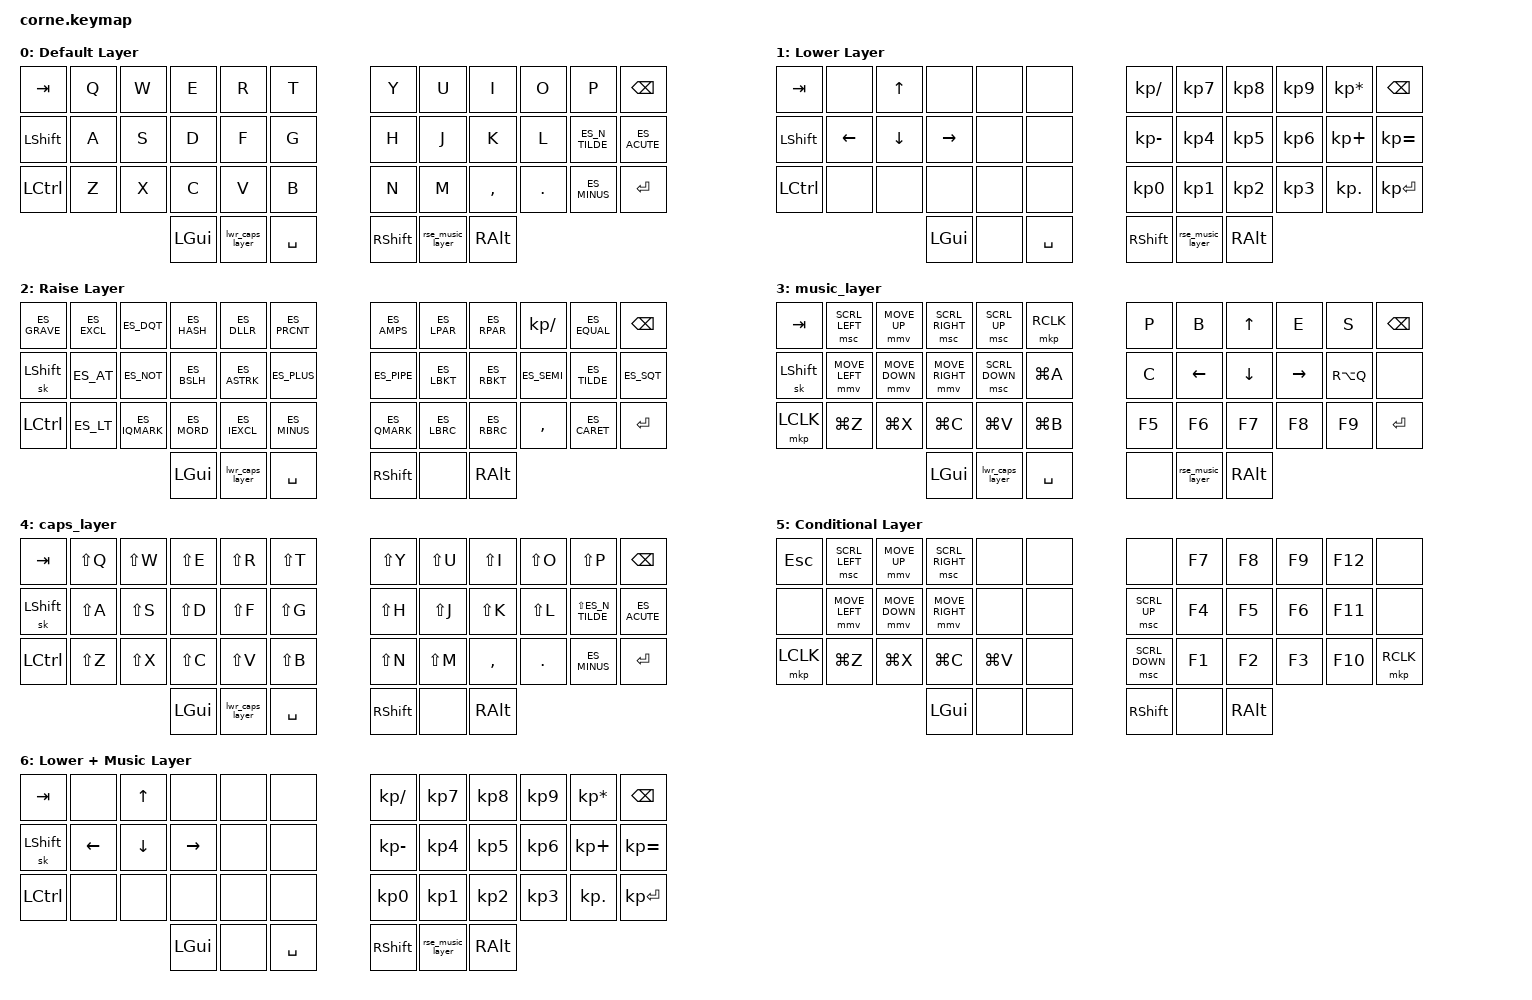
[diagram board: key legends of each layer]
/*
 * Copyright (c) 2020 The ZMK Contributors
 *
 * SPDX-License-Identifier: MIT
 */

#include <behaviors.dtsi>
#include <dt-bindings/zmk/bt.h>
#include <dt-bindings/zmk/keys.h>
#include <dt-bindings/zmk/rgb.h>
#include <dt-bindings/zmk/hid_usage.h>
#include <dt-bindings/zmk/hid_usage_pages.h>
#include <dt-bindings/zmk/modifiers.h>
#define ZMK_POINTING_DEFAULT_MOVE_VAL 1200
#define ZMK_POINTING_DEFAULT_SCRL_VAL 20
#include <dt-bindings/zmk/pointing.h>

/*
 * Localized Keys for Spanish
 *
 * This file was generated from data with the following license:
 *
 * UNICODE, INC. LICENSE AGREEMENT - DATA FILES AND SOFTWARE
 *
 * See Terms of Use <https://www.unicode.org/copyright.html>
 * for definitions of Unicode Inc.'s Data Files and Software.
 *
 * NOTICE TO USER: Carefully read the following legal agreement.
 * BY DOWNLOADING, INSTALLING, COPYING OR OTHERWISE USING UNICODE INC.'S
 * DATA FILES ("DATA FILES"), AND/OR SOFTWARE ("SOFTWARE"),
 * YOU UNEQUIVOCALLY ACCEPT, AND AGREE TO BE BOUND BY, ALL OF THE
 * TERMS AND CONDITIONS OF THIS AGREEMENT.
 * IF YOU DO NOT AGREE, DO NOT DOWNLOAD, INSTALL, COPY, DISTRIBUTE OR USE
 * THE DATA FILES OR SOFTWARE.
 *
 * COPYRIGHT AND PERMISSION NOTICE
 *
 * Copyright (c) 1991-2023 Unicode, Inc. All rights reserved.
 * Distributed under the Terms of Use in https://www.unicode.org/copyright.html.
 *
 * Permission is hereby granted, free of charge, to any person obtaining
 * a copy of the Unicode data files and any associated documentation
 * (the "Data Files") or Unicode software and any associated documentation
 * (the "Software") to deal in the Data Files or Software
 * without restriction, including without limitation the rights to use,
 * copy, modify, merge, publish, distribute, and/or sell copies of
 * the Data Files or Software, and to permit persons to whom the Data Files
 * or Software are furnished to do so, provided that either
 * (a) this copyright and permission notice appear with all copies
 * of the Data Files or Software, or
 * (b) this copyright and permission notice appear in associated
 * Documentation.
 *
 * THE DATA FILES AND SOFTWARE ARE PROVIDED "AS IS", WITHOUT WARRANTY OF
 * ANY KIND, EXPRESS OR IMPLIED, INCLUDING BUT NOT LIMITED TO THE
 * WARRANTIES OF MERCHANTABILITY, FITNESS FOR A PARTICULAR PURPOSE AND
 * NONINFRINGEMENT OF THIRD PARTY RIGHTS.
 * IN NO EVENT SHALL THE COPYRIGHT HOLDER OR HOLDERS INCLUDED IN THIS
 * NOTICE BE LIABLE FOR ANY CLAIM, OR ANY SPECIAL INDIRECT OR CONSEQUENTIAL
 * DAMAGES, OR ANY DAMAGES WHATSOEVER RESULTING FROM LOSS OF USE,
 * DATA OR PROFITS, WHETHER IN AN ACTION OF CONTRACT, NEGLIGENCE OR OTHER
 * TORTIOUS ACTION, ARISING OUT OF OR IN CONNECTION WITH THE USE OR
 * PERFORMANCE OF THE DATA FILES OR SOFTWARE.
 *
 * Except as contained in this notice, the name of a copyright holder
 * shall not be used in advertising or otherwise to promote the sale,
 * use or other dealings in these Data Files or Software without prior
 * written authorization of the copyright holder.
 */

#define ES_ESCAPE_CHARACTER (LC(ZMK_HID_USAGE(HID_USAGE_KEY, HID_USAGE_KEY_KEYBOARD_LEFT_BRACKET_AND_LEFT_BRACE)))

#define ES_FILE_SEPARATOR (LC(ZMK_HID_USAGE(HID_USAGE_KEY, HID_USAGE_KEY_KEYBOARD_BACKSLASH_AND_PIPE)))

#define ES_GROUP_SEPARATOR (LC(ZMK_HID_USAGE(HID_USAGE_KEY, HID_USAGE_KEY_KEYBOARD_RIGHT_BRACKET_AND_RIGHT_BRACE)))

#define ES_SPACE (ZMK_HID_USAGE(HID_USAGE_KEY, HID_USAGE_KEY_KEYBOARD_SPACEBAR))

/* ! */
#define ES_EXCLAMATION (LS(ZMK_HID_USAGE(HID_USAGE_KEY, HID_USAGE_KEY_KEYBOARD_1_AND_EXCLAMATION)))
#define ES_EXCL (ES_EXCLAMATION)

/* " */
#define ES_DOUBLE_QUOTES (LS(ZMK_HID_USAGE(HID_USAGE_KEY, HID_USAGE_KEY_KEYBOARD_2_AND_AT)))
#define ES_DQT (ES_DOUBLE_QUOTES)

/* # */
#define ES_HASH (RA(ZMK_HID_USAGE(HID_USAGE_KEY, HID_USAGE_KEY_KEYBOARD_3_AND_HASH)))
#define ES_POUND (ES_HASH)

/* $ */
#define ES_DOLLAR (LS(ZMK_HID_USAGE(HID_USAGE_KEY, HID_USAGE_KEY_KEYBOARD_4_AND_DOLLAR)))
#define ES_DLLR (ES_DOLLAR)

/* % */
#define ES_PERCENT (LS(ZMK_HID_USAGE(HID_USAGE_KEY, HID_USAGE_KEY_KEYBOARD_5_AND_PERCENT)))
#define ES_PRCNT (ES_PERCENT)

/* & */
#define ES_AMPERSAND (LS(ZMK_HID_USAGE(HID_USAGE_KEY, HID_USAGE_KEY_KEYBOARD_6_AND_CARET)))
#define ES_AMPS (ES_AMPERSAND)

/* ' */
#define ES_SINGLE_QUOTE (ZMK_HID_USAGE(HID_USAGE_KEY, HID_USAGE_KEY_KEYBOARD_MINUS_AND_UNDERSCORE))
#define ES_SQT (ES_SINGLE_QUOTE)
#define ES_APOSTROPHE (ES_SINGLE_QUOTE)
#define ES_APOS (ES_SINGLE_QUOTE)

/* ( */
#define ES_LEFT_PARENTHESIS (LS(ZMK_HID_USAGE(HID_USAGE_KEY, HID_USAGE_KEY_KEYBOARD_8_AND_ASTERISK)))
#define ES_LPAR (ES_LEFT_PARENTHESIS)

/* ) */
#define ES_RIGHT_PARENTHESIS (LS(ZMK_HID_USAGE(HID_USAGE_KEY, HID_USAGE_KEY_KEYBOARD_9_AND_LEFT_PARENTHESIS)))
#define ES_RPAR (ES_RIGHT_PARENTHESIS)

/* * */
#define ES_ASTERISK (LS(ZMK_HID_USAGE(HID_USAGE_KEY, HID_USAGE_KEY_KEYBOARD_RIGHT_BRACKET_AND_RIGHT_BRACE)))
#define ES_ASTRK (ES_ASTERISK)
#define ES_STAR (ES_ASTERISK)

/* + */
#define ES_PLUS (ZMK_HID_USAGE(HID_USAGE_KEY, HID_USAGE_KEY_KEYBOARD_RIGHT_BRACKET_AND_RIGHT_BRACE))

/* , */
#define ES_COMMA (ZMK_HID_USAGE(HID_USAGE_KEY, HID_USAGE_KEY_KEYBOARD_COMMA_AND_LESS_THAN))

/* - */
#define ES_MINUS (ZMK_HID_USAGE(HID_USAGE_KEY, HID_USAGE_KEY_KEYBOARD_SLASH_AND_QUESTION_MARK))

/* . */
#define ES_PERIOD (ZMK_HID_USAGE(HID_USAGE_KEY, HID_USAGE_KEY_KEYBOARD_PERIOD_AND_GREATER_THAN))
#define ES_DOT (ES_PERIOD)

/* / */
#define ES_SLASH (LS(ZMK_HID_USAGE(HID_USAGE_KEY, HID_USAGE_KEY_KEYBOARD_7_AND_AMPERSAND)))
#define ES_FSLH (ES_SLASH)

/* 0 */
#define ES_N0 (ZMK_HID_USAGE(HID_USAGE_KEY, HID_USAGE_KEY_KEYBOARD_0_AND_RIGHT_PARENTHESIS))

/* 1 */
#define ES_N1 (ZMK_HID_USAGE(HID_USAGE_KEY, HID_USAGE_KEY_KEYBOARD_1_AND_EXCLAMATION))

/* 2 */
#define ES_N2 (ZMK_HID_USAGE(HID_USAGE_KEY, HID_USAGE_KEY_KEYBOARD_2_AND_AT))

/* 3 */
#define ES_N3 (ZMK_HID_USAGE(HID_USAGE_KEY, HID_USAGE_KEY_KEYBOARD_3_AND_HASH))

/* 4 */
#define ES_N4 (ZMK_HID_USAGE(HID_USAGE_KEY, HID_USAGE_KEY_KEYBOARD_4_AND_DOLLAR))

/* 5 */
#define ES_N5 (ZMK_HID_USAGE(HID_USAGE_KEY, HID_USAGE_KEY_KEYBOARD_5_AND_PERCENT))

/* 6 */
#define ES_N6 (ZMK_HID_USAGE(HID_USAGE_KEY, HID_USAGE_KEY_KEYBOARD_6_AND_CARET))

/* 7 */
#define ES_N7 (ZMK_HID_USAGE(HID_USAGE_KEY, HID_USAGE_KEY_KEYBOARD_7_AND_AMPERSAND))

/* 8 */
#define ES_N8 (ZMK_HID_USAGE(HID_USAGE_KEY, HID_USAGE_KEY_KEYBOARD_8_AND_ASTERISK))

/* 9 */
#define ES_N9 (ZMK_HID_USAGE(HID_USAGE_KEY, HID_USAGE_KEY_KEYBOARD_9_AND_LEFT_PARENTHESIS))

/* : */
#define ES_COLON (LS(ZMK_HID_USAGE(HID_USAGE_KEY, HID_USAGE_KEY_KEYBOARD_PERIOD_AND_GREATER_THAN)))

/* ; */
#define ES_SEMICOLON (LS(ZMK_HID_USAGE(HID_USAGE_KEY, HID_USAGE_KEY_KEYBOARD_COMMA_AND_LESS_THAN)))
#define ES_SEMI (ES_SEMICOLON)

/* < */
//#define ES_LESS_THAN (ZMK_HID_USAGE(HID_USAGE_KEY, HID_USAGE_KEY_KEYBOARD_NON_US_BACKSLASH_AND_PIPE))
#define ES_LESS_THAN (ZMK_HID_USAGE(HID_USAGE_KEY, HID_USAGE_GD_RZ))
#define ES_LT (ES_LESS_THAN)

/* = */
#define ES_EQUAL (LS(ZMK_HID_USAGE(HID_USAGE_KEY, HID_USAGE_KEY_KEYBOARD_0_AND_RIGHT_PARENTHESIS)))

/* > */
#define ES_GREATER_THAN (RS(ES_LESS_THAN))
#define ES_GT (ES_GREATER_THAN)

/* ? */
#define ES_QUESTION (LS(ZMK_HID_USAGE(HID_USAGE_KEY, HID_USAGE_KEY_KEYBOARD_MINUS_AND_UNDERSCORE)))
#define ES_QMARK (ES_QUESTION)

/* @ */
#define ES_AT_SIGN (RA(ZMK_HID_USAGE(HID_USAGE_KEY, HID_USAGE_KEY_KEYBOARD_2_AND_AT)))
#define ES_AT (ES_AT_SIGN)

/* [ */
#define ES_LEFT_BRACKET (RA(ZMK_HID_USAGE(HID_USAGE_KEY, HID_USAGE_KEY_KEYBOARD_LEFT_BRACKET_AND_LEFT_BRACE)))
#define ES_LBKT (ES_LEFT_BRACKET)

/* \ */
//#define ES_BACKSLASH (RA(ZMK_HID_USAGE(HID_USAGE_KEY, HID_USAGE_KEY_KEYBOARD_GRAVE_ACCENT_AND_TILDE)))
//#define ES_BSLH (ES_BACKSLASH)
//#define ES_MORD KC_GRV  // º
//#define KC_GRV 0x0035 // º
//HID_USAGE_GD_RZ

/* º */
//#define ES_MORD (ZMK_HID_USAGE(HID_USAGE_KEY, HID_USAGE_GD_RZ))
#define ES_MORD (ZMK_HID_USAGE(HID_USAGE_KEY, HID_USAGE_KEY_KEYBOARD_NON_US_BACKSLASH_AND_PIPE))
/* ª */
#define ES_FORD (RS(ES_MORD))
/* \ */
#define ES_BACKSLASH (RA(ES_MORD))
#define ES_BSLH (ES_BACKSLASH)

/* ] */
#define ES_RIGHT_BRACKET (RA(ZMK_HID_USAGE(HID_USAGE_KEY, HID_USAGE_KEY_KEYBOARD_RIGHT_BRACKET_AND_RIGHT_BRACE)))
#define ES_RBKT (ES_RIGHT_BRACKET)

/* ^ */
#define ES_CARET (LS(ZMK_HID_USAGE(HID_USAGE_KEY, HID_USAGE_KEY_KEYBOARD_LEFT_BRACKET_AND_LEFT_BRACE)))

/* _ */
#define ES_UNDERSCORE (LS(ZMK_HID_USAGE(HID_USAGE_KEY, HID_USAGE_KEY_KEYBOARD_SLASH_AND_QUESTION_MARK)))
#define ES_UNDER (ES_UNDERSCORE)

/* ` */
#define ES_GRAVE (ZMK_HID_USAGE(HID_USAGE_KEY, HID_USAGE_KEY_KEYBOARD_LEFT_BRACKET_AND_LEFT_BRACE))

/* a */
#define ES_A (ZMK_HID_USAGE(HID_USAGE_KEY, HID_USAGE_KEY_KEYBOARD_A))

/* b */
#define ES_B (ZMK_HID_USAGE(HID_USAGE_KEY, HID_USAGE_KEY_KEYBOARD_B))

/* c */
#define ES_C (ZMK_HID_USAGE(HID_USAGE_KEY, HID_USAGE_KEY_KEYBOARD_C))

/* d */
#define ES_D (ZMK_HID_USAGE(HID_USAGE_KEY, HID_USAGE_KEY_KEYBOARD_D))

/* e */
#define ES_E (ZMK_HID_USAGE(HID_USAGE_KEY, HID_USAGE_KEY_KEYBOARD_E))

/* f */
#define ES_F (ZMK_HID_USAGE(HID_USAGE_KEY, HID_USAGE_KEY_KEYBOARD_F))

/* g */
#define ES_G (ZMK_HID_USAGE(HID_USAGE_KEY, HID_USAGE_KEY_KEYBOARD_G))

/* h */
#define ES_H (ZMK_HID_USAGE(HID_USAGE_KEY, HID_USAGE_KEY_KEYBOARD_H))

/* i */
#define ES_I (ZMK_HID_USAGE(HID_USAGE_KEY, HID_USAGE_KEY_KEYBOARD_I))

/* j */
#define ES_J (ZMK_HID_USAGE(HID_USAGE_KEY, HID_USAGE_KEY_KEYBOARD_J))

/* k */
#define ES_K (ZMK_HID_USAGE(HID_USAGE_KEY, HID_USAGE_KEY_KEYBOARD_K))

/* l */
#define ES_L (ZMK_HID_USAGE(HID_USAGE_KEY, HID_USAGE_KEY_KEYBOARD_L))

/* m */
#define ES_M (ZMK_HID_USAGE(HID_USAGE_KEY, HID_USAGE_KEY_KEYBOARD_M))

/* n */
#define ES_N (ZMK_HID_USAGE(HID_USAGE_KEY, HID_USAGE_KEY_KEYBOARD_N))

/* o */
#define ES_O (ZMK_HID_USAGE(HID_USAGE_KEY, HID_USAGE_KEY_KEYBOARD_O))

/* p */
#define ES_P (ZMK_HID_USAGE(HID_USAGE_KEY, HID_USAGE_KEY_KEYBOARD_P))

/* q */
#define ES_Q (ZMK_HID_USAGE(HID_USAGE_KEY, HID_USAGE_KEY_KEYBOARD_Q))

/* r */
#define ES_R (ZMK_HID_USAGE(HID_USAGE_KEY, HID_USAGE_KEY_KEYBOARD_R))

/* s */
#define ES_S (ZMK_HID_USAGE(HID_USAGE_KEY, HID_USAGE_KEY_KEYBOARD_S))

/* t */
#define ES_T (ZMK_HID_USAGE(HID_USAGE_KEY, HID_USAGE_KEY_KEYBOARD_T))

/* u */
#define ES_U (ZMK_HID_USAGE(HID_USAGE_KEY, HID_USAGE_KEY_KEYBOARD_U))

/* v */
#define ES_V (ZMK_HID_USAGE(HID_USAGE_KEY, HID_USAGE_KEY_KEYBOARD_V))

/* w */
#define ES_W (ZMK_HID_USAGE(HID_USAGE_KEY, HID_USAGE_KEY_KEYBOARD_W))

/* x */
#define ES_X (ZMK_HID_USAGE(HID_USAGE_KEY, HID_USAGE_KEY_KEYBOARD_X))

/* y */
#define ES_Y (ZMK_HID_USAGE(HID_USAGE_KEY, HID_USAGE_KEY_KEYBOARD_Y))

/* z */
#define ES_Z (ZMK_HID_USAGE(HID_USAGE_KEY, HID_USAGE_KEY_KEYBOARD_Z))

/* { */
#define ES_LEFT_BRACE (RA(ZMK_HID_USAGE(HID_USAGE_KEY, HID_USAGE_KEY_KEYBOARD_APOSTROPHE_AND_QUOTE)))
#define ES_LBRC (ES_LEFT_BRACE)

/* | */
#define ES_PIPE (RA(ZMK_HID_USAGE(HID_USAGE_KEY, HID_USAGE_KEY_KEYBOARD_1_AND_EXCLAMATION)))

/* } */
#define ES_RIGHT_BRACE (RA(ZMK_HID_USAGE(HID_USAGE_KEY, HID_USAGE_KEY_KEYBOARD_BACKSLASH_AND_PIPE)))
#define ES_RBRC (ES_RIGHT_BRACE)

/* ~ */
//#define ES_TILDE (RA(ZMK_HID_USAGE(HID_USAGE_KEY, HID_USAGE_KEY_KEYBOARD_4_AND_DOLLAR)))
/* ~ */
#define ES_TILDE (RA(ZMK_HID_USAGE(HID_USAGE_KEY, HID_USAGE_KEY_KEYBOARD_SEMICOLON_AND_COLON)))

/* ¡ */
#define ES_INVERTED_EXCLAMATION (ZMK_HID_USAGE(HID_USAGE_KEY, HID_USAGE_KEY_KEYBOARD_EQUAL_AND_PLUS))
#define ES_IEXCL (ES_INVERTED_EXCLAMATION)

/* ¨ */
#define ES_UMLAUT (LS(ZMK_HID_USAGE(HID_USAGE_KEY, HID_USAGE_KEY_KEYBOARD_APOSTROPHE_AND_QUOTE)))

/* ª */
#define ES_FEMININE_ORDINAL_INDICATOR (LS(ZMK_HID_USAGE(HID_USAGE_KEY, HID_USAGE_KEY_KEYBOARD_GRAVE_ACCENT_AND_TILDE)))
#define ES_ORDF (ES_FEMININE_ORDINAL_INDICATOR)

/* ¬ */
#define ES_NOT (RA(ZMK_HID_USAGE(HID_USAGE_KEY, HID_USAGE_KEY_KEYBOARD_6_AND_CARET)))

/* ´ */
#define ES_ACUTE (ZMK_HID_USAGE(HID_USAGE_KEY, HID_USAGE_KEY_KEYBOARD_APOSTROPHE_AND_QUOTE))

/* · */
#define ES_MIDDLE_DOT (LS(ZMK_HID_USAGE(HID_USAGE_KEY, HID_USAGE_KEY_KEYBOARD_3_AND_HASH)))
#define ES_MIDDOT (ES_MIDDLE_DOT)

/* º */
#define ES_MASCULINE_ORDINAL_INDICATOR (ZMK_HID_USAGE(HID_USAGE_KEY, HID_USAGE_KEY_KEYBOARD_GRAVE_ACCENT_AND_TILDE))
#define ES_ORDM (ES_MASCULINE_ORDINAL_INDICATOR)

/* ¿ */
#define ES_INVERTED_QUESTION (LS(ZMK_HID_USAGE(HID_USAGE_KEY, HID_USAGE_KEY_KEYBOARD_EQUAL_AND_PLUS)))
#define ES_IQMARK (ES_INVERTED_QUESTION)

/* ç */
#define ES_C_CEDILLA (ZMK_HID_USAGE(HID_USAGE_KEY, HID_USAGE_KEY_KEYBOARD_BACKSLASH_AND_PIPE))

/* ñ */
#define ES_N_TILDE (ZMK_HID_USAGE(HID_USAGE_KEY, HID_USAGE_KEY_KEYBOARD_SEMICOLON_AND_COLON))

/* € */
#define ES_EURO (RA(ZMK_HID_USAGE(HID_USAGE_KEY, HID_USAGE_KEY_KEYBOARD_5_AND_PERCENT)))

/ {
    behaviors {
        /* Lower (MO 1) on hold; toggle Caps layer (layer 4) on double tap */
        lwr_caps_layer: lwr_caps_layer {
            compatible = "zmk,behavior-tap-dance";
            #binding-cells = <0>;
            tapping-term-ms = <200>;
            bindings = <&mo 1>, <&tog 4>;
        };

        /* Raise (MO 2) on hold; toggle Music layer (layer 3) on double tap */
        rse_music_layer: rse_music_layer {
            compatible = "zmk,behavior-tap-dance";
            #binding-cells = <0>;
            tapping-term-ms = <200>;
            bindings = <&mo 2>, <&tog 3>;
        };

    };

    conditional_layers {
        compatible = "zmk,conditional-layers";

        lower_raise_adjust {
            if-layers = <1 2>;
            then-layer = <5>;
        };

        lower_music_blend {
            if-layers = <1 3>;
            then-layer = <6>;
        };
    };

    keymap {
        compatible = "zmk,keymap";

        default_layer {
            display-name = "Default Layer";

            /*
             * -----------------------------------------------------------------------------------------
             * |  TAB |  Q  |  W  |  E  |  R  |  T  |   |  Y  |  U   |  I  |  O  |  P  | BSPC |
             * | SHFT |  A  |  S  |  D  |  F  |  G  |   |  H  |  J   |  K  |  L  |  Ñ  |  ´   |
             * | CTRL |  Z  |  X  |  C  |  V  |  B  |   |  N  |  M   |  ,  |  .  |  -  | ENT  |
             *                     | GUI | LWR | SPC |   | SHFT | RSE  | ALT |
             */

            bindings = <
                &kp TAB       &kp Q           &kp W           &kp E           &kp R             &kp T        &kp Y        &kp U          &kp I             &kp O        &kp P            &kp BSPC
                &kp LSHFT     &kp A           &kp S           &kp D           &kp F             &kp G        &kp H        &kp J          &kp K             &kp L        &kp ES_N_TILDE   &kp ES_ACUTE
                &kp LCTRL     &kp Z           &kp X           &kp C           &kp V             &kp B        &kp N        &kp M          &kp COMMA         &kp DOT      &kp ES_MINUS     &kp RET
                                      &kp LGUI      &lwr_caps_layer      &kp SPACE          &kp RSHFT     &rse_music_layer   &kp RALT
            >;
        };

        lower_layer {
            display-name = "Lower Layer";

            /*
             * -----------------------------------------------------------------------------------------
             * |  TAB |     |  UP |     |     |     |   |  /  |  7    |  8  |  9  |  *  | BSPC |
             * | SHFT | LFT | DWN | RGT |     |     |   |  -  |  4    |  5  |  6  |  +  |   =  |
             * | CTRL |     |     |     |     |     |   |  0  |  1    |  2  |  3  |  .  |  ENT |
             *                     | GUI |     | SPC |   | SHFT |  RSE | ALT |
             */

            bindings = <
                &kp TAB       &none        &kp UP        &none          &none         &none        &kp KP_SLASH   &kp KP_N7   &kp KP_N8   &kp KP_N9   &kp KP_ASTERISK  &kp BSPC
                &kp LSHFT     &kp LEFT     &kp DOWN      &kp RIGHT      &none         &none        &kp KP_MINUS   &kp KP_N4   &kp KP_N5   &kp KP_N6   &kp KP_PLUS      &kp KP_EQUAL
                &kp LCTRL     &none        &none         &none          &none         &none        &kp KP_N0      &kp KP_N1   &kp KP_N2   &kp KP_N3   &kp KP_DOT       &kp KP_ENTER
                                          &kp LGUI      &none          &kp SPACE     &kp RSHFT    &rse_music_layer  &kp RALT
            >;
        };

        raise_layer {
            display-name = "Raise Layer";

            /*
             * -----------------------------------------------------------------------------------------
             * |   `  |  !  |  "  |  #  |  $  |  %  |   |  &  |  (  |  )  |  /  |  =  | BSPC |
             * | SHFT |  @  |  ¬  |  \  |  *  |  +  |   |  |  |  [  |  ]  |  ;  |  ~  |  '   |
             * | CTRL |  <  |  ¿  |  º  |  ¡  |  -  |   |  ?  |  {  |  }  |  ,  |  ^  |  ENT |
             *                     | GUI | LWR | SPC |   | SHFT |     | ALT |
             */

            bindings = <
                &kp ES_GRAVE   &kp ES_EXCL    &kp ES_DQT    &kp ES_HASH   &kp ES_DLLR    &kp ES_PRCNT   &kp ES_AMPS   &kp ES_LPAR   &kp ES_RPAR   &kp KP_SLASH   &kp ES_EQUAL   &kp BSPC
                &sk LSHFT      &kp ES_AT      &kp ES_NOT    &kp ES_BSLH   &kp ES_ASTRK   &kp ES_PLUS    &kp ES_PIPE   &kp ES_LBKT   &kp ES_RBKT   &kp ES_SEMI    &kp ES_TILDE   &kp ES_SQT
                &kp LCTRL      &kp ES_LT      &kp ES_IQMARK &kp ES_MORD   &kp ES_IEXCL   &kp ES_MINUS   &kp ES_QMARK  &kp ES_LBRC   &kp ES_RBRC   &kp COMMA      &kp ES_CARET   &kp RET
                                              &kp LGUI      &lwr_caps_layer  &kp SPACE     &kp RSHFT     &none         &kp RALT
            >;
        };

        music_layer {
            /*
             * -----------------------------------------------------------------------------------------
             * |  TAB  | S_LF | UP  | S_RG | S_UP | RCLK    |   | PENC | BRSH |  UP  | ERAS | SLIP | BSPC |
             * | LSHFT | LFT  | DWN | RGT  | S_DN | SEL_ALL |   | SLCE | LEFT | DOWN | RIGH | QNTZ |      |
             * | LCLK  | UNDO | CUT | COPY | PAST | PAST B  |   |  F5  |  F6  |  F7  |  F8  | F9   | ENT  |
             *                      |  GUI | LWR  | SPACE   |   |      |  RSE | RALT |
             */

            bindings = <
                &kp TAB      &msc SCRL_LEFT  &mmv MOVE_UP    &msc SCRL_RIGHT  &msc SCRL_UP   &mkp RCLK      &kp P        &kp B        &kp UP    &kp E      &kp S      &kp BSPC
                &sk LSHFT    &mmv MOVE_LEFT  &mmv MOVE_DOWN  &mmv MOVE_RIGHT  &msc SCRL_DOWN &kp LG(A)      &kp C        &kp LEFT     &kp DOWN  &kp RIGHT &kp RA(Q) &none
                &mkp LCLK    &kp LG(Z)       &kp LG(X)       &kp LG(C)        &kp LG(V)      &kp LG(B)      &kp F5       &kp F6       &kp F7    &kp F8    &kp F9    &kp RET
                                          &kp LGUI         &lwr_caps_layer   &kp SPACE      &none          &rse_music_layer  &kp RALT
            >;
        };

        caps_layer {
            /*
             * -----------------------------------------------------------------------------------------
             * |  TAB |  Q  |  W  |  E  |  R  |  T  |   |  Y  |  U   |  I  |  O  |  P  | BSPC |
             * | SHFT |  A  |  S  |  D  |  F  |  G  |   |  H  |  J   |  K  |  L  |  Ñ  |  ´   |
             * | CTRL |  Z  |  X  |  C  |  V  |  B  |   |  N  |  M   |  ,  |  .  |  -  | ENT  |
             *                     | GUI | LWR | SPC |   | SHFT | RSE  | ALT |
             */

            bindings = <
                &kp TAB       &kp LS(Q)     &kp LS(W)     &kp LS(E)     &kp LS(R)      &kp LS(T)     &kp LS(Y)       &kp LS(U)        &kp LS(I)        &kp LS(O)        &kp LS(P)          &kp BSPC
                &sk LSHFT     &kp LS(A)     &kp LS(S)     &kp LS(D)     &kp LS(F)      &kp LS(G)     &kp LS(H)       &kp LS(J)        &kp LS(K)        &kp LS(L)        &kp LS(ES_N_TILDE) &kp ES_ACUTE
                &kp LCTRL     &kp LS(Z)     &kp LS(X)     &kp LS(C)     &kp LS(V)      &kp LS(B)     &kp LS(N)       &kp LS(M)        &kp COMMA        &kp DOT          &kp ES_MINUS       &kp RET
                                  &kp LGUI      &lwr_caps_layer   &kp SPACE        &kp RSHFT      &none             &kp RALT
            >;
        };

        conditional_layer {
            display-name = "Conditional Layer";
            /*
             * -----------------------------------------------------------------------------------------
             * |  ESC | S_LF | UP  | S_RG |      |     |   |      |  F7  |  F8  |  F9  | F12 |      |
             * |      | LFT  | DWN | RGT  |      |     |   | S_UP |  F4  |  F5  |  F6  | F11 |      |
             * | LCLK | UNDO | CUT | COPY | PAST |     |   | S_DN |  F1  |  F2  |  F3  | F10 | RCLK |
             *                     | GUI  |      |     |   | SHFT |      |  ALT |
             */
            // Combined Lower + Raise conditional layer
            bindings = <
                &kp ESC     &msc SCRL_LEFT  &mmv MOVE_UP    &msc SCRL_RIGHT  &none        &none    &none            &kp F7  &kp F8  &kp F9  &kp F12  &none
                &none       &mmv MOVE_LEFT  &mmv MOVE_DOWN  &mmv MOVE_RIGHT  &none        &none    &msc SCRL_UP     &kp F4  &kp F5  &kp F6  &kp F11  &none
                &mkp LCLK   &kp LG(Z)       &kp LG(X)       &kp LG(C)        &kp LG(V)    &none    &msc SCRL_DOWN   &kp F1  &kp F2  &kp F3  &kp F10  &mkp RCLK
                                      &kp LGUI           &none           &none          &kp RSHFT        &none    &kp RALT
            >;
        };

        lower_music_layer {
            display-name = "Lower + Music Layer";

            /*
             * -----------------------------------------------------------------------------------------
             * |  TAB |     |  UP |     |     |     |   |  /  |  7    |  8  |  9  |  *  | BSPC |
             * | SHFT | LFT | DWN | RGT |     |     |   |  -  |  4    |  5  |  6  |  +  |   =  |
             * | CTRL |     |     |     |     |     |   |  0  |  1    |  2  |  3  |  .  |  ENT |
             *                     | GUI |     | SPC |   | SHFT |  RSE | ALT |
             */

            bindings = <
                &kp TAB       &none        &kp UP        &none          &none         &none        &kp KP_SLASH   &kp KP_N7   &kp KP_N8   &kp KP_N9   &kp KP_ASTERISK  &kp BSPC
                &sk LSHFT     &kp LEFT     &kp DOWN      &kp RIGHT      &none         &none        &kp KP_MINUS   &kp KP_N4   &kp KP_N5   &kp KP_N6   &kp KP_PLUS      &kp KP_EQUAL
                &kp LCTRL     &none        &none         &none          &none         &none        &kp KP_N0      &kp KP_N1   &kp KP_N2   &kp KP_N3   &kp KP_DOT       &kp KP_ENTER
                                          &kp LGUI      &none          &kp SPACE     &kp RSHFT    &rse_music_layer  &kp RALT
            >;
        };
    };
};
